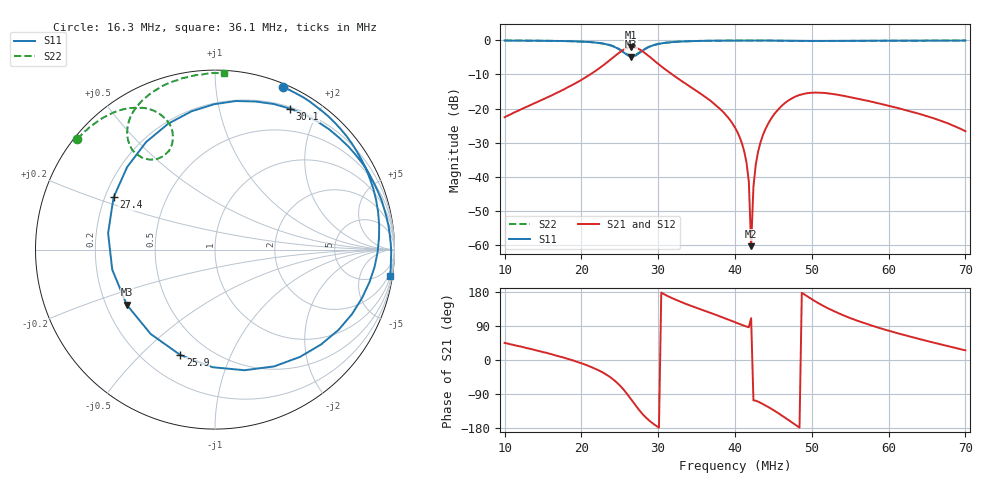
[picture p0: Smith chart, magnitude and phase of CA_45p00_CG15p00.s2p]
#  HZ  S  RI  R  50.00
! Rohde & Schwarz ZVT8 8Ports - Version 4.11 - 1300.0000k08 SN: 100242
! Date: 2026-07-31 15:02:52
! Measurements: S11 S21 S12 S22
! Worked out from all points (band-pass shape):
!   201 points, 10 MHz to 70 MHz, reference 50 ohm
!   highest |S21| = -1.96 dB at 26.5 MHz (marker M1); lowest = -60.4 dB at 42.1 MHz (marker M2)
!   |S21| within 3 dB of the highest: 24.16 MHz to 28.97 MHz (4.808 MHz wide, 18.1 % of centre)
!   lowest |S11| = -4.7 dB at 26.5 MHz (marker M3), VSWR 3.76, Z = 14.3 - j13.2 ohm
!   |S11| at or under -10 dB: nowhere
!   |S22| runs from -4.5 to 0.0 dB; largest |S21 - S12| = 0.0027
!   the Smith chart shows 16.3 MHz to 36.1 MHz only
!   S11 on the Smith chart (normalised r, x): 16.3 MHz: 0.03, +1.50; 25.9 MHz: 0.35, -0.66; 27.4 MHz: 0.24, +0.23; 30.1 MHz: 0.22, +1.65; 36.1 MHz: 1, -13
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1e7  -0.399 0.9129  0.0527 0.053  0.0524 0.0532  -0.9191 0.3836
1.63e7  0.379 0.9073  0.1551 0.0387  0.1546 0.0389  -0.768 0.6166
2.02e7  0.8168 0.5001  0.2677 -0.0472  0.2666 -0.0469  -0.6041 0.7438
2.35e7  0.8191 -0.2699  0.3668 -0.3288  0.3665 -0.3274  -0.3701 0.7843
2.59e7  -0.193 -0.5875  0.0219 -0.7691  0.0235 -0.7691  -0.2394 0.586
2.65e7  -0.4919 -0.3071  -0.2011 -0.772  -0.2022 -0.7727  -0.2862 0.5212
2.74e7  -0.5652 0.2909  -0.4756 -0.588  -0.4753 -0.5854  -0.4013 0.5094
2.86e7  -0.1316 0.7702  -0.5558 -0.2518  -0.5567 -0.2504  -0.4864 0.6195
3.01e7  0.4192 0.7849  -0.443 -0.0109  -0.4421 -0.0118  -0.4554 0.7692
3.25e7  0.8566 0.4267  -0.2582 0.1084  -0.2578 0.1087  -0.2882 0.914
3.61e7  0.9756 -0.1458  -0.0945 0.1155  -0.0941 0.115  0.0524 0.9855
4e7  0.7754 -0.6246  -0.00903 0.0518  -0.00885 0.0517  0.5327 0.8398
4.15e7  0.6464 -0.7597  0.000491 0.016  0.000575 0.016  0.7353 0.6692
4.18e7  0.6173 -0.7844  0.000521 0.00846  0.000478 0.00847  0.7746 0.6247
4.21e7  0.5882 -0.8064  -0.000334 0.000899  -0.000294 0.000797  0.8137 0.5723
4.24e7  0.5581 -0.8265  -0.00199 -0.00681  -0.00201 -0.00674  0.8497 0.5169
4.36e7  0.4313 -0.8984  -0.0174 -0.0358  -0.0171 -0.0357  0.9622 0.246
4.75e7  -0.00814 -0.988  -0.1384 -0.0347  -0.1382 -0.0347  0.4736 -0.8598
5.02e7  -0.2977 -0.9373  -0.1586 0.0646  -0.1588 0.0645  -0.4397 -0.8747
5.38e7  -0.636 -0.7514  -0.0794 0.1344  -0.0793 0.1342  -0.9625 -0.1931
6.01e7  -0.9753 -0.1679  0.0247 0.1064  0.0247 0.106  -0.799 0.584
7e7  -0.5843 0.8058  0.042 0.02  0.0419 0.0199  -0.2484 0.9638
